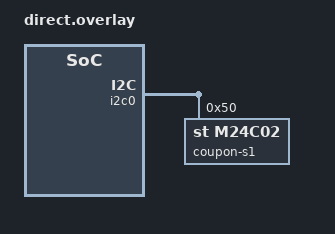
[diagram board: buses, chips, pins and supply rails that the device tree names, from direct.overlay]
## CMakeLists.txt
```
# coupon_desc on Zephyr v4.5.0, native_sim: the descriptor read through the real AT24 EEPROM driver, and the
# TCA9548A slot mux's build-time and naming facts. Built and run by tests/test_zephyr_app.py (marked slow).
# -DCOUPON_IMAGE_INC=<dir> names the directory holding coupon_image.inc (written by the test).
# SPDX-License-Identifier: Apache-2.0

cmake_minimum_required(VERSION 3.20.0)
find_package(Zephyr REQUIRED HINTS $ENV{ZEPHYR_BASE})
project(coupon_desc_zephyr)

target_sources(app PRIVATE src/main.c)
target_include_directories(app PRIVATE ${CMAKE_CURRENT_SOURCE_DIR}/../.. ${COUPON_IMAGE_INC})
target_compile_options(app PRIVATE -Wextra -Wshadow -Werror)
```

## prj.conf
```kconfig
CONFIG_ZTEST=y
CONFIG_I2C=y
CONFIG_EEPROM=y
# Zephyr v4.5.0 moved crc32_ieee() to subsys/crc: it needs CONFIG_CRC
CONFIG_CRC=y
```

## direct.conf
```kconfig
CONFIG_EMUL=y
CONFIG_EEPROM_AT2X_EMUL=y
```

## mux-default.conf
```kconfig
# The mux build with Zephyr v4.5.0's default TCA954x init priorities (both I2C_INIT_PRIORITY): expected NOT to build.
CONFIG_EMUL=y
```

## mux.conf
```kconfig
# Zephyr v4.5.0's i2c_tca954x.c: BUILD_ASSERT(CONFIG_I2C_TCA954X_CHANNEL_INIT_PRIO > CONFIG_I2C_TCA954X_ROOT_INIT_PRIO),
# and both default to I2C_INIT_PRIORITY. Root after the I2C controller (50), channels after the root, both before
# the AT24 EEPROMs (CONFIG_EEPROM_AT2X_INIT_PRIORITY, default 80).
CONFIG_I2C_TCA954X_ROOT_INIT_PRIO=51
CONFIG_I2C_TCA954X_CHANNEL_INIT_PRIO=52
# the emulated I2C controller the mux sits on (native_sim only; not part of the finding)
CONFIG_EMUL=y
```

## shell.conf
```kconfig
# The direct build plus Zephyr's eeprom shell on the dummy backend: tests/test_zephyr_app.py feeds it the lines
# make_eeprom.py --shell writes (Zephyr v4.5.0 drivers/eeprom/eeprom_shell.c, subsys/shell).
CONFIG_EMUL=y
CONFIG_EEPROM_AT2X_EMUL=y
CONFIG_SHELL=y
CONFIG_SHELL_BACKEND_SERIAL=n
CONFIG_SHELL_BACKEND_DUMMY=y
CONFIG_EEPROM_SHELL=y
```

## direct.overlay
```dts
/* One coupon EEPROM, emulated (drivers/eeprom/eeprom_at2x_emul.c), straight on native_sim's emulated I2C bus:
 * the M24C02's geometry (DocID024020 Rev 2: 256 bytes, 16-byte pages, tW 5 ms max). */
&i2c0 {
	coupon_ee: eeprom@50 {
		compatible = "st,m24c02", "atmel,at24";
		reg = <0x50>;
		size = <256>;
		pagesize = <16>;
		address-width = <8>;
		timeout = <5>;
		label = "coupon-s1";	/* the shell finds it by this name (DEVICE_DT_NAME) */
	};
};
```

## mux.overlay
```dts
/* The testbed's slot mux as SPEC §4.5 / §8.4 describe it: a TCA9548A at 0x70 on its own I2C bus, channels 0-4 =
 * S1-S5, and on each channel a descriptor EEPROM at 0x50. Nothing answers on this emulated bus (there is no TCA9548A
 * emulator): the test checks what the drivers do at build time and at init, and how the devices are named. S1's
 * EEPROM keeps the default name; S2-S5's carry a `label`. */
/ {
	i2c_slot: i2c@200 {
		compatible = "zephyr,i2c-emul-controller";
		clock-frequency = <I2C_BITRATE_FAST>;
		#address-cells = <1>;
		#size-cells = <0>;
		#forward-cells = <1>;
		reg = <0x200 4>;
		status = "okay";

		slot_mux: mux@70 {
			compatible = "ti,tca9548a";
			reg = <0x70>;
			#address-cells = <1>;
			#size-cells = <0>;
			i2c-mux-idle-disconnect;

#define COUPON_SLOT(ch, lbl)						\
			ch_##ch: ch@ch {					\
				compatible = "ti,tca9548a-channel";		\
				reg = <ch>;					\
				#address-cells = <1>;				\
				#size-cells = <0>;				\
				ee_s##ch: eeprom@50 {				\
					compatible = "st,m24c02", "atmel,at24";	\
					reg = <0x50>;				\
					size = <256>;				\
					pagesize = <16>;			\
					address-width = <8>;			\
					timeout = <5>;				\
					lbl					\
				};						\
			};
			COUPON_SLOT(0, )
			COUPON_SLOT(1, label = "coupon-s2";)
			COUPON_SLOT(2, label = "coupon-s3";)
			COUPON_SLOT(3, label = "coupon-s4";)
			COUPON_SLOT(4, label = "coupon-s5";)
		};
	};
};
```

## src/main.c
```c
/*
 * coupon_desc.h under Zephyr v4.5.0 on native_sim (tests/test_zephyr_app.py builds and runs this).
 *
 * direct build (direct.overlay): an emulated M24C02-geometry EEPROM on the emulated I2C bus, driven by Zephyr's own
 *   eeprom_at2x driver: it starts erased (0xFF), the image make_eeprom.py made is written through eeprom_write()
 *   (the driver splits it at 16-byte pages), read back in one eeprom_read(), and checked with
 *   coupon_desc_validate(), which uses Zephyr's crc32_ieee() (CONFIG_CRC).
 * mux build (mux.overlay + mux.conf): the slot mux and five EEPROMs at 0x50 behind it; checks that every EEPROM device
 *   is ready although nothing answers on the bus (the AT24 driver does not touch the chip at init), that an unlabelled
 *   node is named "eeprom@50" and the labelled ones by their label, and how long a read of an absent coupon takes.
 *
 * Nothing here is hardware: the emulator is not an M24C02 (no write cycle time, no page roll-over).
 * SPDX-License-Identifier: Apache-2.0
 */
#include <string.h>

#include <zephyr/device.h>
#include <zephyr/drivers/eeprom.h>
#include <zephyr/kernel.h>
#include <zephyr/sys/printk.h>
#include <zephyr/ztest.h>

#include "coupon_desc.h"
#include "coupon_image.inc" /* coupon_image[], COUPON_IMAGE_* expected values: written by the test */

#if DT_NODE_EXISTS(DT_NODELABEL(coupon_ee))

static const struct device *const ee = DEVICE_DT_GET(DT_NODELABEL(coupon_ee));

ZTEST(coupon_direct, test_blank_then_written)
{
	uint8_t buf[COUPON_DESC_SIZE];
	struct coupon_desc d;

	zassert_true(device_is_ready(ee), "eeprom not ready");
	zassert_equal(eeprom_get_size(ee), COUPON_DESC_SIZE);
	zassert_ok(eeprom_read(ee, 0, buf, sizeof(buf)));
	zassert_equal(coupon_desc_validate(buf, sizeof(buf)), COUPON_DESC_E_BLANK, "a fresh EEPROM is not blank");

	for (size_t off = 0; off < sizeof(coupon_image); off += COUPON_DESC_PAGE_SIZE) {
		zassert_ok(eeprom_write(ee, off, &coupon_image[off], COUPON_DESC_PAGE_SIZE), "page %u", (unsigned)off);
	}
	memset(buf, 0, sizeof(buf));
	zassert_ok(eeprom_read(ee, 0, buf, sizeof(buf)));
	zassert_mem_equal(buf, coupon_image, sizeof(buf));
	zassert_equal(coupon_desc_validate(buf, sizeof(buf)), COUPON_DESC_OK);
	memcpy(&d, buf, sizeof(d));
	zassert_equal(d.coupon_type, COUPON_IMAGE_TYPE);
	zassert_equal(d.serial, COUPON_IMAGE_SERIAL);
	zassert_equal(d.uses, COUPON_IMAGE_USES);
	zassert_equal(d.rails[COUPON_RAIL_3V3].max_ma, COUPON_IMAGE_MAX_MA_3V3);
	zassert_equal(d.rails[COUPON_RAIL_5V].max_ma, COUPON_IMAGE_MAX_MA_5V);
	zassert_equal(d.crc32, COUPON_IMAGE_CRC);
	zassert_equal(crc32_ieee(buf, COUPON_DESC_CRC_OFFSET), COUPON_IMAGE_CRC);
	printk("COUPON direct: type %u serial %u uses 0x%08x crc 0x%08x\n", d.coupon_type, d.serial, d.uses,
	       d.crc32);
}

ZTEST(coupon_direct, test_one_byte_off_fails_crc)
{
	uint8_t buf[COUPON_DESC_SIZE];
	uint8_t b = coupon_image[0x31] ^ 0x01;

	zassert_ok(eeprom_write(ee, 0, coupon_image, 0)); /* a zero-length write is accepted */
	for (size_t off = 0; off < sizeof(coupon_image); off += COUPON_DESC_PAGE_SIZE) {
		zassert_ok(eeprom_write(ee, off, &coupon_image[off], COUPON_DESC_PAGE_SIZE));
	}
	zassert_ok(eeprom_write(ee, 0x31, &b, 1));
	zassert_ok(eeprom_read(ee, 0, buf, sizeof(buf)));
	zassert_equal(coupon_desc_validate(buf, sizeof(buf)), COUPON_DESC_E_CRC);
}

ZTEST(coupon_direct, test_unaligned_write_is_split_at_pages)
{
	uint8_t buf[COUPON_DESC_SIZE];

	/* one call from offset 5 to the end: the driver must write it page by page (it caps each write at the page
	 * boundary), so the result equals the image */
	zassert_ok(eeprom_write(ee, 0, coupon_image, 5));
	zassert_ok(eeprom_write(ee, 5, &coupon_image[5], sizeof(coupon_image) - 5));
	zassert_ok(eeprom_read(ee, 0, buf, sizeof(buf)));
	zassert_mem_equal(buf, coupon_image, sizeof(buf));
}

ZTEST_SUITE(coupon_direct, NULL, NULL, NULL, NULL, NULL);

#if defined(CONFIG_EEPROM_SHELL)
#include <zephyr/shell/shell.h>
#include <zephyr/shell/shell_dummy.h>
#include <zephyr/sys/util.h>

#include "coupon_shell.inc" /* coupon_shell_lines[]: make_eeprom.py --shell coupon-s1, written by the test */

/* The lines make_eeprom.py --shell writes, through Zephyr's own eeprom shell: every one is accepted (3 arguments
 * plus 16 bytes is 20 tokens, CONFIG_SHELL_ARGC_MAX's default), and the EEPROM then holds the image. */
ZTEST(coupon_shell, test_make_eeprom_shell_lines_write_the_image)
{
	const struct shell *sh = shell_backend_dummy_get_ptr();
	uint8_t buf[COUPON_DESC_SIZE];

	WAIT_FOR(shell_ready(sh), 20000, k_msleep(1));
	zassert_true(shell_ready(sh), "dummy shell backend not ready");
	zassert_ok(shell_execute_cmd(sh, "eeprom fill coupon-s1 0 256 0"));
	for (size_t i = 0; i < ARRAY_SIZE(coupon_shell_lines); i++) {
		zassert_ok(shell_execute_cmd(sh, coupon_shell_lines[i]), "%s", coupon_shell_lines[i]);
	}
	zassert_ok(eeprom_read(ee, 0, buf, sizeof(buf)));
	zassert_mem_equal(buf, coupon_image, sizeof(buf));
	zassert_equal(coupon_desc_validate(buf, sizeof(buf)), COUPON_DESC_OK);
	printk("COUPON shell: %u lines accepted, image valid\n", (unsigned)ARRAY_SIZE(coupon_shell_lines));
}

/* No headroom: one byte more per line (21 tokens) is refused by the shell. */
ZTEST(coupon_shell, test_seventeen_bytes_is_one_argument_too_many)
{
	const struct shell *sh = shell_backend_dummy_get_ptr();

	zassert_true(shell_execute_cmd(sh, "eeprom write coupon-s1 0 1 2 3 4 5 6 7 8 9 10 11 12 13 14 15 16 17") != 0);
	zassert_ok(shell_execute_cmd(sh, "eeprom write coupon-s1 0 1 2 3 4 5 6 7 8 9 10 11 12 13 14 15 16"));
}

ZTEST_SUITE(coupon_shell, NULL, NULL, NULL, NULL, NULL);
#endif
#endif

#if DT_NODE_EXISTS(DT_NODELABEL(slot_mux))

#define EE(n) DEVICE_DT_GET(DT_NODELABEL(ee_s##n))
static const struct device *const slot_ee[] = {EE(0), EE(1), EE(2), EE(3), EE(4)};

ZTEST(coupon_mux, test_every_slot_eeprom_is_ready_without_a_chip)
{
	for (int i = 0; i < 5; i++) {
		zassert_true(device_is_ready(slot_ee[i]), "S%d eeprom not ready", i + 1);
	}
}

ZTEST(coupon_mux, test_names)
{
	zassert_str_equal(slot_ee[0]->name, "eeprom@50");
	zassert_str_equal(slot_ee[1]->name, "coupon-s2");
	zassert_str_equal(slot_ee[4]->name, "coupon-s5");
	/* by name, "eeprom@50" can reach only the one unlabelled node; the labelled ones by their label */
	zassert_equal_ptr(device_get_binding("eeprom@50"), slot_ee[0]);
	zassert_equal_ptr(device_get_binding("coupon-s3"), slot_ee[2]);
	printk("COUPON names: %s %s %s %s %s\n", slot_ee[0]->name, slot_ee[1]->name, slot_ee[2]->name,
	       slot_ee[3]->name, slot_ee[4]->name);
}

ZTEST(coupon_mux, test_absent_coupon_read_fails)
{
	uint8_t buf[COUPON_DESC_SIZE];
	int64_t t0 = k_uptime_get();
	int err = eeprom_read(slot_ee[1], 0, buf, sizeof(buf));
	int64_t dt = k_uptime_get() - t0;

	zassert_true(err < 0, "a read with nothing on the bus returned %d", err);
	printk("COUPON absent read: err %d after %lld ms\n", err, dt);
}

ZTEST_SUITE(coupon_mux, NULL, NULL, NULL, NULL, NULL);
#endif
```
